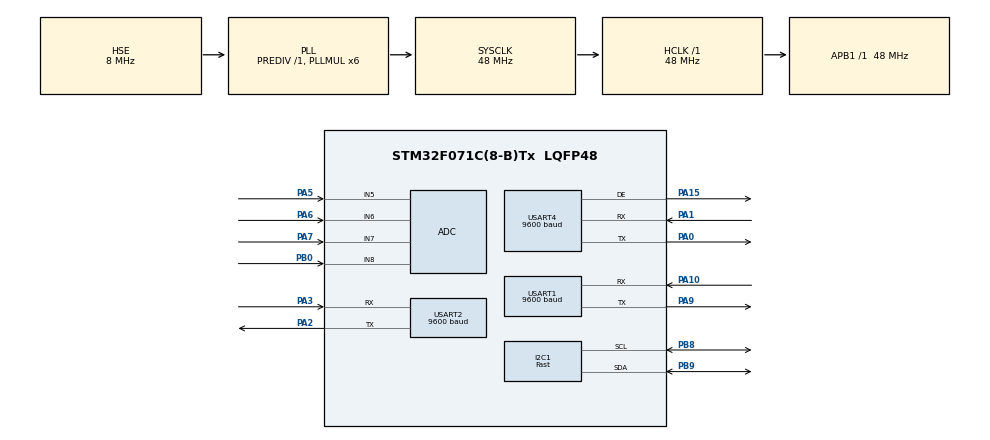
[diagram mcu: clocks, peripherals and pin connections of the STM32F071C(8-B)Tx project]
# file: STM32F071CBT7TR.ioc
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ADC.ClockPrescaler=ADC_CLOCK_ASYNC_DIV1
ADC.ContinuousConvMode=ENABLE
ADC.DMAContinuousRequests=ENABLE
ADC.SamplingTime=ADC_SAMPLETIME_13CYCLES_5
Dma.ADC.0.Direction=DMA_PERIPH_TO_MEMORY
Dma.ADC.0.Instance=DMA1_Channel1
Dma.ADC.0.MemDataAlignment=DMA_MDATAALIGN_HALFWORD
Dma.ADC.0.MemInc=DMA_MINC_ENABLE
Dma.ADC.0.Mode=DMA_CIRCULAR
Dma.ADC.0.PeriphDataAlignment=DMA_PDATAALIGN_HALFWORD
Dma.ADC.0.PeriphInc=DMA_PINC_DISABLE
Dma.ADC.0.Priority=DMA_PRIORITY_LOW
Dma.Request0=ADC
Dma.Request1=USART1_TX
Dma.Request2=USART4_TX
Dma.Request3=USART2_TX
Dma.USART1_TX.1.Direction=DMA_MEMORY_TO_PERIPH
Dma.USART1_TX.1.Instance=DMA1_Channel2
Dma.USART1_TX.1.MemDataAlignment=DMA_MDATAALIGN_BYTE
Dma.USART1_TX.1.MemInc=DMA_MINC_ENABLE
Dma.USART1_TX.1.Mode=DMA_NORMAL
Dma.USART1_TX.1.PeriphDataAlignment=DMA_PDATAALIGN_BYTE
Dma.USART1_TX.1.PeriphInc=DMA_PINC_DISABLE
Dma.USART1_TX.1.Priority=DMA_PRIORITY_HIGH
Dma.USART2_TX.3.Direction=DMA_MEMORY_TO_PERIPH
Dma.USART2_TX.3.Instance=DMA1_Channel4
Dma.USART2_TX.3.MemDataAlignment=DMA_MDATAALIGN_BYTE
Dma.USART2_TX.3.MemInc=DMA_MINC_ENABLE
Dma.USART2_TX.3.Mode=DMA_NORMAL
Dma.USART2_TX.3.PeriphDataAlignment=DMA_PDATAALIGN_BYTE
Dma.USART2_TX.3.PeriphInc=DMA_PINC_DISABLE
Dma.USART2_TX.3.Priority=DMA_PRIORITY_HIGH
Dma.USART4_TX.2.Direction=DMA_MEMORY_TO_PERIPH
Dma.USART4_TX.2.Instance=DMA1_Channel7
Dma.USART4_TX.2.MemDataAlignment=DMA_MDATAALIGN_BYTE
Dma.USART4_TX.2.MemInc=DMA_MINC_ENABLE
Dma.USART4_TX.2.Mode=DMA_NORMAL
Dma.USART4_TX.2.PeriphDataAlignment=DMA_PDATAALIGN_BYTE
Dma.USART4_TX.2.PeriphInc=DMA_PINC_DISABLE
Dma.USART4_TX.2.Priority=DMA_PRIORITY_LOW
I2C1.I2C_Speed_Mode=I2C_Fast
I2C1.Timing=0x0010020A
Mcu.Family=STM32F0
Mcu.Name=STM32F071C(8-B)Tx
Mcu.Package=LQFP48
NVIC.DMA1_Channel1_IRQn=true\:0\:0\:false\:false\:true\:false\:true\:true
NVIC.DMA1_Channel2_3_IRQn=true\:0\:0\:false\:false\:true\:false\:true\:true
NVIC.DMA1_Channel4_5_6_7_IRQn=true\:0\:0\:false\:false\:true\:false\:true\:true
NVIC.TIM3_IRQn=true\:0\:0\:false\:false\:true\:true\:true\:true
NVIC.USART1_IRQn=true\:0\:0\:false\:false\:true\:true\:true\:true
NVIC.USART2_IRQn=true\:0\:0\:false\:false\:true\:true\:true\:true
NVIC.USART3_4_IRQn=true\:0\:0\:false\:false\:true\:false\:true\:true
PA0.Mode=Asynchronous
PA0.Signal=USART4_TX
PA1.GPIO_PuPd=GPIO_PULLUP
PA1.Mode=Asynchronous
PA1.Signal=USART4_RX
PA10.Mode=Asynchronous
PA10.Signal=USART1_RX
PA13.Mode=Serial_Wire
PA13.Signal=SYS_SWDIO
PA14.Mode=Serial_Wire
PA14.Signal=SYS_SWCLK
PA15.Mode=Hardware Flow Control (RS485)
PA15.Signal=USART4_DE
PA2.Mode=Asynchronous
PA2.Signal=USART2_TX
PA3.Mode=Asynchronous
PA3.Signal=USART2_RX
PA5.Mode=IN5
PA5.Signal=ADC_IN5
PA6.Mode=IN6
PA6.Signal=ADC_IN6
PA7.Mode=IN7
PA7.Signal=ADC_IN7
PA9.Mode=Asynchronous
PA9.Signal=USART1_TX
PB0.Mode=IN8
PB0.Signal=ADC_IN8
PB8.GPIO_Pu=GPIO_PULLUP
PB8.Mode=I2C
PB8.Signal=I2C1_SCL
PB9.GPIO_Pu=GPIO_PULLUP
PB9.Mode=I2C
PB9.Signal=I2C1_SDA
PC14-OSC32_IN.Mode=LSE-External-Oscillator
PC14-OSC32_IN.Signal=RCC_OSC32_IN
PC15-OSC32_OUT.Mode=LSE-External-Oscillator
PC15-OSC32_OUT.Signal=RCC_OSC32_OUT
PF0-OSC_IN.Mode=HSE-External-Oscillator
PF0-OSC_IN.Signal=RCC_OSC_IN
PF1-OSC_OUT.Mode=HSE-External-Oscillator
PF1-OSC_OUT.Signal=RCC_OSC_OUT
ProjectManager.HeapSize=0x200
ProjectManager.StackSize=0x400
ProjectManager.TargetToolchain=CMake
RCC.AHBFreq_Value=48000000
RCC.APB1Freq_Value=48000000
RCC.APB1TimFreq_Value=48000000
RCC.HCLKFreq_Value=48000000
RCC.PLLMUL=RCC_PLL_MUL6
RCC.PLLSourceVirtual=RCC_PLLSOURCE_HSE
RCC.SYSCLKFreq_VALUE=48000000
RCC.SYSCLKSource=RCC_SYSCLKSOURCE_PLLCLK
TIM3.Period=1000-1
TIM3.Prescaler=48-1
USART1.BaudRate=9600
USART1.VirtualMode-Asynchronous=VM_ASYNC
USART2.BaudRate=9600
USART2.VirtualMode-Asynchronous=VM_ASYNC
USART4.BaudRate=9600
USART4.VirtualMode-Asynchronous=VM_ASYNC
USART4.VirtualMode-Hardware\ Flow\ Control\ (RS485)=VM_ASYNC
VP_TIM3_VS_ClockSourceINT.Mode=Internal
board=custom

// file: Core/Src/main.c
/* USER CODE BEGIN Header */
/**
 ******************************************************************************
 * @file           : main.c
 * @brief          : Main program body
 ******************************************************************************
 * @attention
 *
 * Copyright (c) 2025 STMicroelectronics.
 * All rights reserved.
 *
 * This software is licensed under terms that can be found in the LICENSE file
 * in the root directory of this software component.
 * If no LICENSE file comes with this software, it is provided AS-IS.
 *
 ******************************************************************************
 */
/* USER CODE END Header */
#include "main.h"
#include "adc.h"
#include "dma.h"
#include "i2c.h"
#include "tim.h"
#include "usart.h"
#include "gpio.h"

/* USER CODE BEGIN Includes */
#include <stdio.h>
#include <string.h>
#include <stdlib.h>
/* USER CODE END Includes */

/* USER CODE BEGIN PD */
// 120.9ohm x 4mA = 0.4836V -> 0.4836V/3.3V x 4095 = 600
#define RATE_A 4167
#define ZERO_A 600
#define ADC_NUM 4
/* USER CODE END PD */

void SystemClock_Config(void);
/* USER CODE BEGIN PFP */
void Read_Sensor_ID(void);
/* USER CODE END PFP */

/* USER CODE BEGIN 0 */
char txBuff[350], txNewBuff[100], rxBuff[30], reqBuff[30], rxData, usrBuff[30],
    dataBuff[255], usrData, gwData, gwBuff[30];
uint8_t senID[4], adcFlag, sendFlag, reqFlag, usrFlag,
    reqNum, com_err, sensorNum, I2CBuff[16], ReadI2C[16];
uint16_t adcRaw[40], adcData[4], adcAvg[4];
uint32_t adcSum[4], adcRawSum[4];
int32_t senValue[100], adcValue[4];
int16_t reqCnt = 20, txCnt = 1000, adcCnt = 300;
uint8_t test;
int16_t Evalue, Fvalue;
uint8_t test_scenario;
uint32_t test_time = 0;
/* USER CODE END 0 */

int main(void)
{

    /* MCU Configuration--------------------------------------------------------*/

    /* Reset of all peripherals, Initializes the Flash interface and the Systick. */
    HAL_Init();

    /* Configure the system clock */
    SystemClock_Config();

    /* Initialize all configured peripherals */
    MX_GPIO_Init();
    MX_DMA_Init();
    MX_ADC_Init();
    MX_TIM3_Init();
    MX_USART1_UART_Init();
    MX_USART4_UART_Init();
    MX_USART2_UART_Init();
    MX_I2C1_Init();
    /* USER CODE BEGIN 2 */
    Read_Sensor_ID();
    HAL_ADCEx_Calibration_Start(&hadc);
    HAL_ADC_Start_DMA(&hadc, (uint32_t *)&adcRaw, 40);
    HAL_UART_Receive_IT(&huart4, (uint8_t *)&rxData, 1);
    HAL_UART_Receive_IT(&huart2, (uint8_t *)&gwData, 1);
    HAL_UART_Receive_IT(&huart1, (uint8_t *)&usrData, 1);
    HAL_TIM_Base_Start_IT(&htim3);
    /* USER CODE END 2 */

    /* Infinite loop */
    while (1)
    {

        /* USER CODE BEGIN 3 */

        if (adcFlag) // 4-20mA ADC 연산
        {
            adcRawSum[0] = adcRaw[0] + adcRaw[4] + adcRaw[8] + adcRaw[12] + adcRaw[16] + adcRaw[20] + adcRaw[24] + adcRaw[28] + adcRaw[32] + adcRaw[36];
            adcRawSum[1] = adcRaw[1] + adcRaw[5] + adcRaw[9] + adcRaw[13] + adcRaw[17] + adcRaw[21] + adcRaw[25] + adcRaw[29] + adcRaw[33] + adcRaw[37];
            adcRawSum[2] = adcRaw[2] + adcRaw[6] + adcRaw[10] + adcRaw[14] + adcRaw[18] + adcRaw[22] + adcRaw[26] + adcRaw[30] + adcRaw[34] + adcRaw[38];
            adcRawSum[3] = adcRaw[3] + adcRaw[7] + adcRaw[11] + adcRaw[15] + adcRaw[19] + adcRaw[23] + adcRaw[27] + adcRaw[31] + adcRaw[35] + adcRaw[39];

            adcData[0] = adcRawSum[0] / 10;
            adcData[1] = adcRawSum[1] / 10;
            adcData[2] = adcRawSum[2] / 10;
            adcData[3] = adcRawSum[3] / 10;

            adcRawSum[0] = 0;
            adcRawSum[1] = 0;
            adcRawSum[2] = 0;
            adcRawSum[3] = 0;

            adcSum[0] += adcData[0];
            adcSum[1] += adcData[1];
            adcSum[2] += adcData[2];
            adcSum[3] += adcData[3];

            if (adcCnt > 0)
                adcCnt--;

            if (adcCnt == 0)
            {
                adcAvg[0] = adcSum[0] / 300;
                adcAvg[1] = adcSum[1] / 300;
                adcAvg[2] = adcSum[2] / 300;
                adcAvg[3] = adcSum[3] / 300;

                adcSum[0] = 0;
                adcSum[1] = 0;
                adcSum[2] = 0;
                adcSum[3] = 0;

                adcValue[0] = ((adcAvg[0] - ZERO_A) * RATE_A) / 100000;
                adcValue[1] = ((adcAvg[1] - ZERO_A) * RATE_A) / 100000;
                adcValue[2] = ((adcAvg[2] - ZERO_A) * RATE_A) / 100000;
                adcValue[3] = ((adcAvg[3] - ZERO_A) * RATE_A) / 100000;

                senValue[senID[0] - 1] = adcValue[0];
                senValue[senID[1] - 1] = adcValue[1];
                senValue[senID[2] - 1] = adcValue[2];
                senValue[senID[3] - 1] = adcValue[3];

                if (test)
                {
                    senValue[senID[0] - 1] = Evalue;
                    senValue[senID[1] - 1] = Fvalue;
                }

                // 환경공단 테스트 설정 ADC1: 배출시설(E0101A), ADC2: 송풍시설(F0001A), ADC3: 배출시설(E8001), ADC4: 송풍시설(F8001)
                // ADC3, ADC4 0으로 설정
                senValue[senID[2] - 1] = 0;
                senValue[senID[3] - 1] = 0;

                if (test_time > 0)
                {
                    if (test_scenario == 1)
                    {
                        // 1시간(3,600,000msec)테스트 진행
                        if (test_time <= 3300000) // 5분 지난 후(3,600,000 - 300,000)
                        {
                            senValue[senID[0] - 1] = 5; // 배출시설 5A 가동 설정
                            senValue[senID[1] - 1] = 0; // 방지시설 0A 미가동 설정

                            if (test_time <= 2400000) // 방지시설 설정 20분 지난 후(3,600,000 - 1,200,000)
                            {
                                if (test_time <= 1800000)
                                    senValue[senID[1] - 1] = 0; // 방지시설 0A 미가동 설정
                                else
                                    senValue[senID[1] - 1] = 5; // 방지시설 5A 가동 설정
                            }
                        }
                        else
                        {
                            senValue[senID[0] - 1] = 0; // 테스트 초기 0A
                            senValue[senID[1] - 1] = 0;
                        }
                    }
                    else if (test_scenario == 2)
                    {
                        // 2시간 반(9,000,000msec)테스트 진행
                        if (test_time <= 6600000) // 40분 지난 후 (9,000,000 - 2,400,000)
                        {
                            if (test_time <= 300000)        // 2시간 25분 후(9,000,000 - 8,700,000)
                                senValue[senID[0] - 1] = 5; // 배출시설 시나리오 종료 5분 남은 시점에 5A 미가동
                            else
                                senValue[senID[0] - 1] = 15; // 배출시설 15A 가동 설정

                            senValue[senID[1] - 1] = 0; // 방지시설 미가동

                            if (test_time <= 5400000) // 방지시설 설정
                            {
                                if (test_time <= 3600000)
                                    senValue[senID[1] - 1] = 0; // 시나리오 종료 1시간 전 방지시설 0A 미가동 설정
                                else
                                    senValue[senID[1] - 1] = 5; // 방지시설 5A 가동 설정
                            }
                        }
                        else
                        {
                            // 테스트 초기 배출 5A, 방지 0A
                            senValue[senID[0] - 1] = 5;
                            senValue[senID[1] - 1] = 0;
                        }
                    }
                }
                else
                {
                    if (test_scenario == 1 || test_scenario == 2)
                        test_scenario = 0; // 테스트 종료
                }

                adcCnt = 300;
            }

            adcFlag = 0;
        }

        if (reqFlag) // 센서보드로 데이터 요청: R01\r\n(R: 요청, 01: ID)
        {
            if (com_err)
            {
                senValue[reqNum - 1] = 666;
                com_err = 0; // 무응답 통신불량 처리 후, 응답에러 플래그 해제
            }

            if (reqNum >= sensorNum)
                reqNum = 0;

            reqNum++;

            if (reqNum != senID[0] && reqNum != senID[1] && reqNum != senID[2] && reqNum != senID[3])
            {
                // ex.R01\r\n
                snprintf(reqBuff, sizeof(reqBuff), "R%02d%c%c%c", reqNum, 0x0D, 0x0A, 0x00);
                HAL_UART_Transmit_DMA(&huart4, (uint8_t *)&reqBuff, strlen(reqBuff));
            }

            reqFlag = 0;
        }

        if (sendFlag) // 게이트웨이로 센서 데이터 전송
        {
            sprintf(txBuff, "%c", 0x02);

            for (int i = 0; i < 100; i++)
            {
                if (i >= sensorNum)
                {
                    sprintf(txNewBuff, "000");
                }
                else
                {
                    if (senValue[i] < 0)
                    {
                        uint32_t minus_data = abs(senValue[i]);

                        if (minus_data > 100)
                            minus_data = 99;

                        sprintf(txNewBuff, "-%02ld", minus_data);
                    }
                    else
                    {
                        if (senValue[i] > 999)
                            senValue[i] = 999;

                        sprintf(txNewBuff, "%03ld", senValue[i]);
                    }
                }
                strcat(txBuff, txNewBuff);
            }

            sprintf(txNewBuff, "%c\r", 0x03);
            strcat(txBuff, txNewBuff);

            HAL_UART_Transmit_DMA(&huart2, (uint8_t *)&txBuff, strlen(txBuff));

            sendFlag = 0;
        }

        if (usrFlag) // 전체 센서 갯수, 계측 센서 ID
        {
            // ex.Total num and PortA ID: 01, PortB ID: 02... T07PA01PB06PC03PD07\r\n
            snprintf(dataBuff, sizeof(dataBuff), "Total(%02d) A1(%02d): %ld, A2(%02d): %ld, A3(%02d): %ld, A4(%02d): %ld%c%c%c",
                     sensorNum, senID[0], senValue[senID[0] - 1], senID[1], senValue[senID[1] - 1], senID[2],
                     senValue[senID[2] - 1], senID[3], senValue[senID[3] - 1], 0x0D, 0x0A, 0x00);
            HAL_UART_Transmit_DMA(&huart1, (uint8_t *)&dataBuff, strlen(dataBuff));

            usrFlag = 0;
        }
    }
    /* USER CODE END 3 */
}

void SystemClock_Config(void)
{
    RCC_OscInitTypeDef RCC_OscInitStruct = {0};
    RCC_ClkInitTypeDef RCC_ClkInitStruct = {0};
    RCC_PeriphCLKInitTypeDef PeriphClkInit = {0};

    /** Initializes the RCC Oscillators according to the specified parameters
     * in the RCC_OscInitTypeDef structure.
     */
    RCC_OscInitStruct.OscillatorType = RCC_OSCILLATORTYPE_HSI | RCC_OSCILLATORTYPE_HSI14 | RCC_OSCILLATORTYPE_HSE;
    RCC_OscInitStruct.HSEState = RCC_HSE_ON;
    RCC_OscInitStruct.HSIState = RCC_HSI_ON;
    RCC_OscInitStruct.HSI14State = RCC_HSI14_ON;
    RCC_OscInitStruct.HSICalibrationValue = RCC_HSICALIBRATION_DEFAULT;
    RCC_OscInitStruct.HSI14CalibrationValue = 16;
    RCC_OscInitStruct.PLL.PLLState = RCC_PLL_ON;
    RCC_OscInitStruct.PLL.PLLSource = RCC_PLLSOURCE_HSE;
    RCC_OscInitStruct.PLL.PLLMUL = RCC_PLL_MUL6;
    RCC_OscInitStruct.PLL.PREDIV = RCC_PREDIV_DIV1;
    if (HAL_RCC_OscConfig(&RCC_OscInitStruct) != HAL_OK)
    {
        Error_Handler();
    }

    /** Initializes the CPU, AHB and APB buses clocks
     */
    RCC_ClkInitStruct.ClockType = RCC_CLOCKTYPE_HCLK | RCC_CLOCKTYPE_SYSCLK | RCC_CLOCKTYPE_PCLK1;
    RCC_ClkInitStruct.SYSCLKSource = RCC_SYSCLKSOURCE_PLLCLK;
    RCC_ClkInitStruct.AHBCLKDivider = RCC_SYSCLK_DIV1;
    RCC_ClkInitStruct.APB1CLKDivider = RCC_HCLK_DIV1;

    if (HAL_RCC_ClockConfig(&RCC_ClkInitStruct, FLASH_LATENCY_1) != HAL_OK)
    {
        Error_Handler();
    }
    PeriphClkInit.PeriphClockSelection = RCC_PERIPHCLK_USART1 | RCC_PERIPHCLK_USART2 | RCC_PERIPHCLK_I2C1;
    PeriphClkInit.Usart1ClockSelection = RCC_USART1CLKSOURCE_PCLK1;
    PeriphClkInit.Usart2ClockSelection = RCC_USART2CLKSOURCE_PCLK1;
    PeriphClkInit.I2c1ClockSelection = RCC_I2C1CLKSOURCE_HSI;
    if (HAL_RCCEx_PeriphCLKConfig(&PeriphClkInit) != HAL_OK)
    {
        Error_Handler();
    }
}

/* USER CODE BEGIN 4 */
void HAL_TIM_PeriodElapsedCallback(TIM_HandleTypeDef *htim)
{
    if (htim->Instance == TIM3)
    {
        if (txCnt > 0)
            txCnt--;
        if (reqCnt)
            reqCnt--;

        // 테스트
        if (test_time > 0)
            test_time--;

        // 1msec 간격 ADC
        adcFlag = 1;

        if (txCnt == 0)
        { // 1sec 간격 센서 데이터 전송
            txCnt = 1000;
            sendFlag = 1;
            usrFlag = 1;
        }

        if (reqCnt == 0)
        { // 20msec 간격 센서 데이터 요청
            reqCnt = 20;
            reqFlag = 1;
        }
    }
}

void HAL_UART_RxCpltCallback(UART_HandleTypeDef *huart)
{
    if (huart->Instance == USART4)
    {
        // 센서 데이터 수신: A0100000\r\n(A: 응답, 01: ID, 000: 데이터, 0: checksum >> 8, 0: checkSum & 0xFF)
        // 체크섬의 경우, A01000 모두 더한 uint16_t 값

        static uint8_t rxNum;

        rxBuff[rxNum] = rxData;
        rxNum++;

        if (rxNum > 10)
            rxNum = 0;

        if (rxNum >= 2)
        {
            if (rxBuff[rxNum - 10] == 'A' && rxBuff[rxNum - 2] == 0x0D && rxBuff[rxNum - 1] == 0x0A)
            {
                uint8_t id;
                uint16_t checkSum, rxCheckSum;

                id = (rxBuff[rxNum - 9] - '0') * 10;
                id += (rxBuff[rxNum - 8] - '0');

                if (id == reqNum)
                {
                    checkSum = (rxBuff[rxNum - 10] + rxBuff[rxNum - 9] + rxBuff[rxNum - 8] + rxBuff[rxNum - 7] + rxBuff[rxNum - 6] + rxBuff[rxNum - 5]);
                    rxCheckSum = (rxBuff[rxNum - 4] << 8) | rxBuff[rxNum - 3];

                    if (checkSum == rxCheckSum)
                    {
                        int16_t data;

                        if (rxBuff[rxNum - 7] == '-')
                        {
                            data = (rxBuff[rxNum - 6] - '0') * 10;
                            data += (rxBuff[rxNum - 5] - '0');
                            data = (0 - 1) * data;
                        }
                        else
                        {
                            data = (rxBuff[rxNum - 7] - '0') * 100;
                            data += (rxBuff[rxNum - 6] - '0') * 10;
                            data += (rxBuff[rxNum - 5] - '0');
                        }

                        senValue[id - 1] = data;
                    }
                    else
                    {
                        senValue[id - 1] = 666; // 통신불량: 체크섬 불일치
                    }
                }
                else
                {
                    senValue[id - 1] = 666; // 통신불량: 응답아이디 불일치
                }

                reqCnt = 1;  // 응답 수신 시, 1msec 딜레이 후 다음 데이터 요청
                com_err = 0; // 응답 수신 시, 응답에러 플래그 해제
                rxNum = 0;
            }
        }
        HAL_UART_Receive_IT(&huart4, (uint8_t *)&rxData, 1);
    }

    if (huart->Instance == USART2)
    { // 센서 갯수 설정 ex. AS07\r\n(센서 갯수 7개)

        static uint8_t gwNum;

        gwBuff[gwNum] = gwData;
        gwNum++;

        if (gwNum > 6)
            gwNum = 0;

        if (gwBuff[gwNum - 6] == 'A' && gwBuff[gwNum - 2] == 0x0D && gwBuff[gwNum - 1] == 0x0A)
        {
            I2CBuff[0] = (gwBuff[gwNum - 4] - '0') * 10;
            I2CBuff[0] += (gwBuff[gwNum - 3] - '0');

            if (gwBuff[gwNum - 5] == 'S')
            {
                sensorNum = I2CBuff[0];
                HAL_I2C_Mem_Write(&hi2c1, 0xA0, 0x58, I2C_MEMADD_SIZE_8BIT, &I2CBuff[0], 1, 1);

                gwNum = 0;
            }
        }
        HAL_UART_Receive_IT(&huart2, (uint8_t *)&gwData, 1);
    }

    if (huart->Instance == USART1)
    { // 센서 갯수 및 ID 설정 ex. AS07\r\n(센서 갯수 7개) or A103(ADC1 ID: 3번)
        char tmpBuff[50];

        usrBuff[0] = usrBuff[1];
        usrBuff[1] = usrBuff[2];
        usrBuff[2] = usrBuff[3];
        usrBuff[3] = usrBuff[4];
        usrBuff[4] = usrBuff[5];
        usrBuff[5] = usrData;

        if (usrBuff[0] == 'A' && usrBuff[4] == 0x0D && usrBuff[5] == 0x0A)
        {
            I2CBuff[0] = (usrBuff[2] - '0') * 10;
            I2CBuff[0] += (usrBuff[3] - '0');

            if (usrBuff[1] == 'S') // 총 센서 갯수
            {
                sensorNum = I2CBuff[0];
                HAL_I2C_Mem_Write(&hi2c1, 0xA0, 0x58, I2C_MEMADD_SIZE_8BIT, &I2CBuff[0], 1, 1);
                snprintf(tmpBuff, sizeof(tmpBuff), "Total Sensor Num: %2d\r\n", I2CBuff[0]);
            }
            else if (usrBuff[1] == '1') // 1번 ADC ID
            {
                senID[0] = I2CBuff[0];
                HAL_I2C_Mem_Write(&hi2c1, 0xA0, 0x50, I2C_MEMADD_SIZE_8BIT, &I2CBuff[0], 1, 1);
                snprintf(tmpBuff, sizeof(tmpBuff), "ADC1 ID: %2d\r\n", I2CBuff[0]);
            }
            else if (usrBuff[1] == '2')
            {
                senID[1] = I2CBuff[0];
                HAL_I2C_Mem_Write(&hi2c1, 0xA0, 0x52, I2C_MEMADD_SIZE_8BIT, &I2CBuff[0], 1, 1);
                snprintf(tmpBuff, sizeof(tmpBuff), "ADC2 ID: %2d\r\n", I2CBuff[0]);
            }
            else if (usrBuff[1] == '3')
            {
                senID[2] = I2CBuff[0];
                HAL_I2C_Mem_Write(&hi2c1, 0xA0, 0x54, I2C_MEMADD_SIZE_8BIT, &I2CBuff[0], 1, 1);
                snprintf(tmpBuff, sizeof(tmpBuff), "ADC3 ID: %2d\r\n", I2CBuff[0]);
            }
            else if (usrBuff[1] == '4')
            {
                senID[3] = I2CBuff[0];
                HAL_I2C_Mem_Write(&hi2c1, 0xA0, 0x56, I2C_MEMADD_SIZE_8BIT, &I2CBuff[0], 1, 1);
                snprintf(tmpBuff, sizeof(tmpBuff), "ADC4 ID: %2d\r\n", I2CBuff[0]);
            }
            else
            {
                snprintf(tmpBuff, sizeof(tmpBuff), "Wrong Protocol: %s", usrBuff);
            }

            HAL_UART_Transmit_DMA(&huart1, (uint8_t *)tmpBuff, strlen(tmpBuff));
        }
        else if (usrBuff[0] == 'T' && usrBuff[4] == 0x0D && usrBuff[5] == 0x0A)
        {
            int16_t data;

            data = (usrBuff[2] - '0') * 10;
            data += (usrBuff[3] - '0');

            // 50을 기준으로 위로는 + 데이터, 밑으로는 - 데이터
            data -= 50;

            // 테스트 모드
            if (usrBuff[1] == '1') // E0101 값
            {
                test = 1;
                Evalue = data;
                snprintf(tmpBuff, sizeof(tmpBuff), "E0101A: %d\r\n", data);

                if (test_time)
                    test_time = 0;
            }
            else if (usrBuff[1] == '2') // F0001 값
            {
                test = 1;
                Fvalue = data;
                snprintf(tmpBuff, sizeof(tmpBuff), "F0001A: %d\r\n", data);

                if (test_time)
                    test_time = 0;
            }
            else if (usrBuff[1] == 'S')
            {
                test = 0;
                snprintf(tmpBuff, sizeof(tmpBuff), "TEST STOP\r\n");

                if (test_time)
                    test_time = 0;
            }

            HAL_UART_Transmit_DMA(&huart1, (uint8_t *)tmpBuff, strlen(tmpBuff));
        }

        else if (usrBuff[0] == 'S' && usrBuff[1] == 'C' && usrBuff[2] == 'N' && usrBuff[4] == 0x0D && usrBuff[5] == 0x0A)
        { // 테스트 시나리오

            if (usrBuff[3] == '1') // 테스트 시나리오 - 1
            {
                test_scenario = 1;
                test_time = 2 * 30 * 60 * 1000; // 1시간
                snprintf(tmpBuff, sizeof(tmpBuff), "TEST SCENARIO - 1\r\n");
            }
            else if (usrBuff[3] == '2') // 테스트 시나리오 - 2
            {
                test_scenario = 2;
                test_time = ((2 * 60 * 60) + (30 * 60)) * 1000; // 2시간반
                snprintf(tmpBuff, sizeof(tmpBuff), "TEST SCENARIO - 2\r\n");
            }
            else if (usrBuff[3] == '0') // 테스트 종료
            {
                test_scenario = 0;
                test_time = 0;
                snprintf(tmpBuff, sizeof(tmpBuff), "TEST SCENARIO STOP\r\n");
            }

            HAL_UART_Transmit_DMA(&huart1, (uint8_t *)tmpBuff, strlen(tmpBuff));
        }

        HAL_UART_Receive_IT(&huart1, (uint8_t *)&usrData, 1);
    }
}

void HAL_UART_TxCpltCallback(UART_HandleTypeDef *huart)
{
    if (huart->Instance == USART4)
    {
        reqCnt += 10; // 전송 완료 후, 응답 수신 10msec 딜레이
        com_err = 1;  // 전송 완료 후, 응답에러 플래그 설정
    }
}

void Read_Sensor_ID(void)
{
    HAL_I2C_Mem_Read(&hi2c1, 0xA0, 0x50, I2C_MEMADD_SIZE_8BIT, &ReadI2C[0], 16, 1);

    for (uint8_t i = 0; i < ADC_NUM; i++)
    {
        senID[i] = ReadI2C[i * 2];
    }

    sensorNum = ReadI2C[8]; // Main 보드에만 해당 -> 디버깅 필요.

    /*수정 필요*/ // 0x40 메모리 깨짐
    senID[0] = 1;
    senID[1] = 6;
    senID[2] = 3;
    senID[3] = 7;
    sensorNum = 7;
}
/* USER CODE END 4 */

void Error_Handler(void)
{
    __disable_irq();
    while (1)
    {
    }
}

#ifdef USE_FULL_ASSERT
/**
 * @brief  Reports the name of the source file and the source line number
 *         where the assert_param error has occurred.
 * @param  file: pointer to the source file name
 * @param  line: assert_param error line source number
 * @retval None
 */
void assert_failed(uint8_t *file, uint32_t line)
{
    /* USER CODE BEGIN 6 */
    /* User can add his own implementation to report the file name and line number,
       ex: printf("Wrong parameters value: file %s on line %d\r\n", file, line) */
    printf("Wrong parameters value: file %s on line %ld\r\n", file, line);
    /* USER CODE END 6 */
}
#endif /* USE_FULL_ASSERT */
